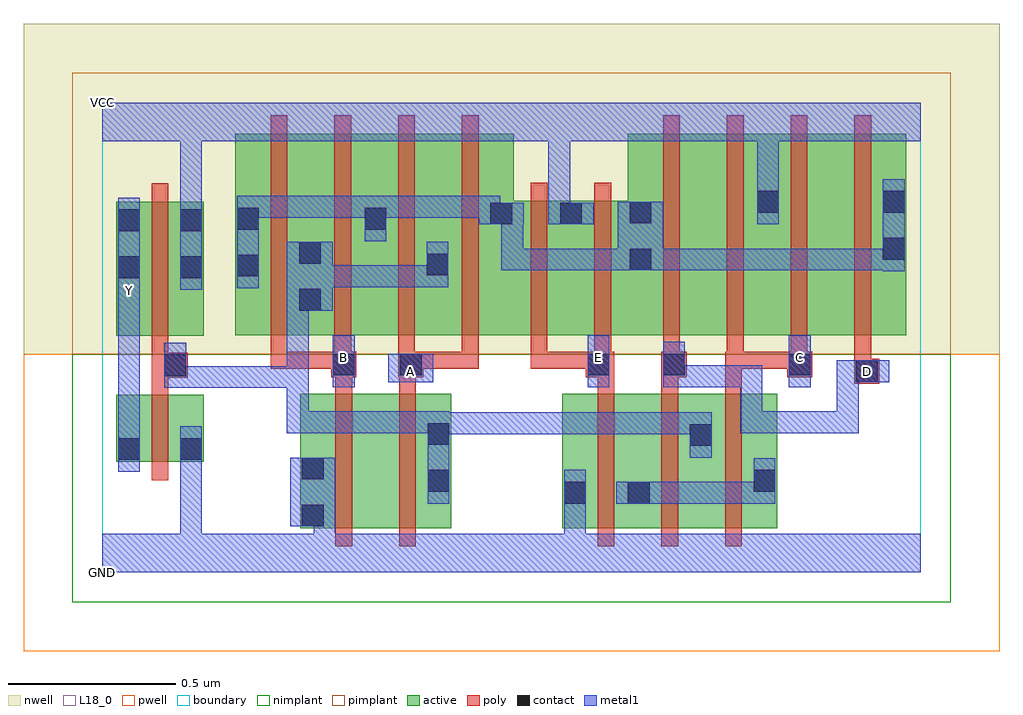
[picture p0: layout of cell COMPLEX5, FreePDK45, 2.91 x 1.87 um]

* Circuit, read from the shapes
.subckt COMPLEX5 A B C D E GND VCC Y
M1 GND n1 Y VSUBS nfet w=0.2u l=0.05u
M2 n2 B GND VSUBS nfet w=0.4u l=0.05u
M3 n1 A n2 VSUBS nfet w=0.4u l=0.05u
M4 n3 E GND VSUBS nfet w=0.4u l=0.05u
M5 n1 D n3 VSUBS nfet w=0.4u l=0.05u
M6 n3 C n1 VSUBS nfet w=0.4u l=0.05u
M7 VCC n1 Y n4 pfet w=0.4u l=0.05u
M8 n1 B n5 n4 pfet w=0.6u l=0.05u m=2
M9 n1 A n5 n4 pfet w=0.6u l=0.05u m=2
M10 VCC E n5 n4 pfet w=0.4u l=0.05u m=2
M11 n6 D n5 n4 pfet w=0.6u l=0.05u
M12 VCC C n6 n4 pfet w=0.6u l=0.05u
M13 n7 C VCC n4 pfet w=0.6u l=0.05u
M14 n5 D n7 n4 pfet w=0.6u l=0.05u
.ends

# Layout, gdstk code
import gdstk
lib = gdstk.Library(unit=1e-6, precision=1e-09)
def R(c, l, rs):  # rectangles x0, y0, x1, y1
    for r in rs: c.add(gdstk.rectangle(r[:2], r[2:], *l))
def A(c, l, x, y, w, h, nx, ny, dx, dy):  # array of equal rectangles
    R(c, l, [(x+i*dx, y+j*dy, x+i*dx+w, y+j*dy+h) for i in range(nx) for j in range(ny)])
active = (1, 0)
pwell = (2, 0)
nwell = (3, 0)
nimplant = (4, 0)
pimplant = (5, 0)
poly = (9, 0)
contact = (10, 0)
metal1 = (11, 0)
L18_0 = (18, 0)
boundary = (235, 0)

complex5 = lib.new_cell('COMPLEX5')
R(complex5, active, [(0.59,0.132,0.665,0.532), (0.59,0.132,0.815,0.532), (0.815,0.132,1.04,0.532), (1.372,0.132,1.637,0.532), (1.372,0.132,1.447,0.532), (1.562,0.132,1.822,0.532), (1.747,0.132,2.012,0.532), (0.965,0.195,1.04,0.532), (1.562,0.195,1.637,0.492), (1.747,0.195,1.822,0.492), (1.937,0.195,2.012,0.532), (0.042,0.33,0.117,0.53), (0.042,0.33,0.302,0.53), (0.227,0.33,0.302,0.53), (0.042,0.705,0.302,1.105), (0.042,0.705,0.117,1.105), (0.227,0.705,0.302,1.105), (0.397,0.707,0.472,1.2), (0.397,0.707,0.657,1.307), (0.582,0.707,0.657,1.07), (0.582,0.707,0.852,1.307), (0.777,0.707,0.852,1.2), (0.777,0.707,1.037,1.307), (0.962,0.707,1.227,1.307), (0.962,0.707,1.037,1.07), (1.152,0.707,1.435,1.107), (1.36,0.707,1.642,1.107), (1.567,0.707,1.792,1.307), (1.792,0.707,2.022,1.307), (1.947,0.707,2.172,1.307), (1.947,0.707,2.022,1.305), (2.172,0.707,2.397,1.307), (2.322,0.707,2.397,1.2), (1.36,0.802,1.435,1.107), (1.567,0.895,1.642,1.2), (1.152,0.907,1.227,1.2)])
R(complex5, pwell, [(-0.235,-0.235,2.675,0.65)])
R(complex5, nwell, [(-0.235,0.65,2.675,1.635)])
R(complex5, nimplant, [(-0.09,-0.09,2.53,0.65)])
R(complex5, pimplant, [(-0.09,0.65,2.53,1.49)])
A(complex5, poly, 1.477, 0.077, 0.05, 0.51, 3, 1, 0.19, 0)
A(complex5, poly, 0.502, 0.607, 0.05, 0.095, 4, 1, 0.19, 0)
A(complex5, poly, 1.672, 0.607, 0.05, 0.095, 3, 1, 0.19, 0)
A(complex5, poly, 0.502, 0.652, 0.05, 0.71, 4, 1, 0.19, 0)
A(complex5, poly, 1.672, 0.652, 0.05, 0.71, 4, 1, 0.19, 0)
R(complex5, poly, [(0.695,0.077,0.745,0.587), (0.885,0.077,0.935,0.587), (0.147,0.275,0.197,0.585), (0.147,0.535,0.197,0.63), (0.695,0.537,0.745,0.632), (0.885,0.537,0.935,0.632), (1.477,0.537,1.527,0.632), (1.667,0.537,1.717,0.632), (1.857,0.537,1.907,0.657), (2.242,0.562,2.317,0.637), (0.147,0.58,0.255,0.655), (0.682,0.582,0.757,0.657), (0.882,0.582,0.957,0.657), (1.442,0.582,1.527,0.657), (1.667,0.582,1.742,0.657), (2.042,0.582,2.117,0.657), (2.242,0.587,2.292,0.702), (0.147,0.605,0.197,0.7), (0.502,0.607,0.552,0.657), (0.502,0.607,0.552,0.657), (0.502,0.607,0.552,0.657), (0.502,0.607,0.732,0.657), (0.907,0.607,1.122,0.657), (1.072,0.607,1.122,0.657), (1.072,0.607,1.122,0.657), (1.072,0.607,1.122,0.657), (1.277,0.607,1.327,0.702), (1.277,0.607,1.327,0.657), (1.277,0.607,1.327,0.657), (1.277,0.607,1.327,0.657), (1.277,0.607,1.492,0.657), (1.467,0.607,1.517,0.702), (1.857,0.607,1.912,0.657), (1.862,0.607,2.092,0.657), (2.042,0.607,2.092,0.657), (2.042,0.607,2.092,0.657), (0.147,0.65,0.197,1.16), (1.277,0.652,1.327,1.162), (1.467,0.652,1.517,1.162)])
R(complex5, contact, [(0.595,0.137,0.66,0.202), (1.377,0.205,1.442,0.27), (1.567,0.205,1.632,0.27), (0.97,0.24,1.035,0.305), (1.942,0.24,2.007,0.305), (0.595,0.277,0.66,0.342), (0.047,0.335,0.112,0.4), (0.232,0.335,0.297,0.4), (1.752,0.377,1.817,0.442), (0.97,0.38,1.035,0.445), (2.247,0.567,2.312,0.632), (0.185,0.585,0.25,0.65), (0.687,0.587,0.752,0.652), (0.887,0.587,0.952,0.652), (1.447,0.587,1.512,0.652), (1.672,0.587,1.737,0.652), (2.047,0.587,2.112,0.652), (0.587,0.78,0.652,0.845), (0.047,0.877,0.112,0.942), (0.232,0.877,0.297,0.942), (0.402,0.882,0.467,0.947), (0.967,0.885,1.032,0.95), (1.572,0.9,1.637,0.965), (0.587,0.92,0.652,0.985), (2.327,0.932,2.392,0.997), (0.047,1.017,0.112,1.082), (0.232,1.017,0.297,1.082), (0.402,1.022,0.467,1.087), (0.782,1.022,0.847,1.087), (1.157,1.037,1.222,1.102), (1.365,1.037,1.43,1.102), (1.572,1.04,1.637,1.105), (1.952,1.072,2.017,1.137), (2.327,1.072,2.392,1.137)])
R(complex5, metal1, [(0,0,2.44,0.115), (0.232,0.05,0.297,0.115), (0.232,0.05,0.297,0.115), (0.232,0.05,0.297,0.115), (0.232,0.05,0.297,0.115), (0.232,0.05,0.297,0.365), (0.63,0.05,0.695,0.202), (1.377,0.05,1.442,0.235), (0.56,0.137,0.695,0.342), (0.63,0.137,0.695,0.202), (0.63,0.137,0.695,0.202), (1.377,0.17,1.442,0.235), (1.377,0.17,1.442,0.235), (1.377,0.17,1.442,0.305), (0.97,0.205,1.035,0.48), (1.532,0.205,1.667,0.27), (1.602,0.205,1.667,0.27), (1.602,0.205,1.667,0.27), (1.602,0.205,1.81,0.27), (1.745,0.205,1.81,0.27), (1.745,0.205,1.967,0.27), (1.902,0.205,1.967,0.27), (1.902,0.205,2.007,0.27), (1.942,0.205,2.007,0.34), (0.047,0.3,0.112,0.435), (0.232,0.3,0.297,0.365), (0.232,0.3,0.297,0.365), (0.232,0.3,0.297,0.435), (1.752,0.342,1.817,0.477), (0.047,0.37,0.112,0.837), (0.97,0.412,1.172,0.477), (1.107,0.412,1.172,0.477), (1.107,0.412,1.172,0.477), (1.107,0.412,1.172,0.477), (1.107,0.412,1.325,0.477), (1.26,0.412,1.325,0.477), (1.26,0.412,1.392,0.477), (1.327,0.412,1.392,0.477), (1.327,0.412,1.53,0.477), (1.465,0.412,1.53,0.477), (1.465,0.412,1.53,0.477), (1.465,0.412,1.53,0.477), (1.465,0.412,1.817,0.477), (1.752,0.412,1.817,0.477), (1.752,0.412,1.817,0.477), (0.55,0.415,0.615,0.48), (0.55,0.415,0.615,0.48), (0.55,0.415,0.615,0.48), (0.55,0.415,0.895,0.48), (0.55,0.415,0.615,0.615), (0.83,0.415,0.895,0.48), (0.83,0.415,1.035,0.48), (0.97,0.415,1.035,0.48), (0.97,0.415,1.035,0.48), (1.902,0.415,1.967,0.48), (1.902,0.415,2.117,0.48), (1.902,0.415,1.967,0.617), (2.052,0.415,2.117,0.48), (2.052,0.415,2.255,0.48), (2.19,0.415,2.255,0.48), (2.19,0.415,2.255,0.632), (0.185,0.55,0.25,0.615), (0.185,0.55,0.25,0.615), (0.185,0.55,0.25,0.685), (0.185,0.55,0.477,0.615), (0.412,0.55,0.477,0.615), (0.412,0.55,0.477,0.615), (0.412,0.55,0.477,0.615), (0.412,0.55,0.615,0.615), (0.55,0.55,0.615,0.615), (0.55,0.55,0.615,0.845), (0.687,0.552,0.752,0.707), (1.447,0.552,1.512,0.707), (1.672,0.552,1.737,0.687), (1.672,0.552,1.83,0.617), (1.765,0.552,1.967,0.617), (1.765,0.552,1.83,0.617), (1.902,0.552,1.967,0.617), (1.902,0.552,1.967,0.617), (1.902,0.552,1.967,0.617), (2.047,0.552,2.112,0.707), (0.852,0.567,0.987,0.652), (2.19,0.567,2.255,0.632), (2.19,0.567,2.277,0.632), (2.212,0.567,2.347,0.632), (0.047,0.772,0.112,0.907), (0.55,0.78,0.687,0.985), (0.047,0.842,0.112,1.117), (0.047,0.842,0.112,0.907), (0.232,0.842,0.297,1.117), (0.402,0.847,0.467,1.122), (0.622,0.85,0.687,0.915), (0.622,0.85,0.687,0.915), (0.622,0.85,0.895,0.915), (0.83,0.85,1.032,0.915), (0.83,0.85,0.895,0.915), (0.83,0.85,0.895,0.915), (0.83,0.85,0.895,0.915), (0.967,0.85,1.032,0.985), (2.327,0.897,2.392,1.172), (1.19,0.9,1.255,0.965), (1.19,0.9,1.255,1.102), (1.19,0.9,1.375,0.965), (1.31,0.9,1.375,0.965), (1.31,0.9,1.392,0.965), (1.327,0.9,1.392,0.965), (1.327,0.9,1.53,0.965), (1.465,0.9,1.53,0.965), (1.465,0.9,1.602,0.965), (1.537,0.9,1.672,1.105), (1.607,0.9,1.81,0.965), (1.745,0.9,1.81,0.965), (1.745,0.9,1.81,0.965), (1.745,0.9,1.81,0.965), (1.745,0.9,1.967,0.965), (1.902,0.9,1.967,0.965), (1.902,0.9,2.105,0.965), (2.04,0.9,2.105,0.965), (2.04,0.9,2.105,0.965), (2.04,0.9,2.105,0.965), (2.04,0.9,2.255,0.965), (2.19,0.9,2.392,0.965), (2.19,0.9,2.255,0.965), (2.19,0.9,2.255,0.965), (2.19,0.9,2.255,0.965), (0.782,0.987,0.847,1.122), (1.122,1.037,1.187,1.102), (1.122,1.037,1.257,1.102), (1.122,1.037,1.187,1.122), (1.33,1.037,1.465,1.102), (1.33,1.037,1.395,1.35), (1.952,1.037,2.017,1.172), (0.232,1.052,0.297,1.35), (0.402,1.057,0.467,1.122), (0.402,1.057,0.467,1.122), (0.402,1.057,0.657,1.122), (0.592,1.057,0.657,1.122), (0.592,1.057,0.657,1.122), (0.592,1.057,0.657,1.122), (0.592,1.057,0.847,1.122), (0.782,1.057,0.847,1.122), (0.782,1.057,0.847,1.122), (0.782,1.057,1.032,1.122), (0.967,1.057,1.032,1.122), (0.967,1.057,1.187,1.122), (1.952,1.107,2.017,1.35), (0,1.285,2.44,1.4), (0.232,1.285,0.297,1.35), (0.232,1.285,0.297,1.35), (1.33,1.285,1.395,1.35), (1.33,1.285,1.395,1.35)])
R(complex5, L18_0, [(0,0,2.44,0.115), (0.232,0.05,0.297,0.115), (0.232,0.05,0.297,0.115), (0.232,0.05,0.297,0.115), (0.232,0.05,0.297,0.115), (0.232,0.05,0.297,0.365), (0.63,0.05,0.695,0.202), (1.377,0.05,1.442,0.235), (0.56,0.137,0.695,0.342), (0.63,0.137,0.695,0.202), (0.63,0.137,0.695,0.202), (1.377,0.17,1.442,0.305), (1.377,0.17,1.442,0.235), (1.377,0.17,1.442,0.235), (0.047,0.3,0.112,0.435), (0.232,0.3,0.297,0.435), (0.232,0.3,0.297,0.365), (0.232,0.3,0.297,0.365), (0.047,0.37,0.112,0.837), (1.902,0.415,1.967,0.48), (1.902,0.415,1.967,0.617), (1.902,0.415,2.117,0.48), (2.052,0.415,2.117,0.48), (2.052,0.415,2.255,0.48), (2.19,0.415,2.255,0.48), (2.19,0.415,2.255,0.632), (0.687,0.552,0.752,0.707), (1.447,0.552,1.512,0.707), (1.672,0.552,1.737,0.687), (1.672,0.552,1.83,0.617), (1.765,0.552,1.83,0.617), (1.765,0.552,1.967,0.617), (1.902,0.552,1.967,0.617), (1.902,0.552,1.967,0.617), (1.902,0.552,1.967,0.617), (2.047,0.552,2.112,0.707), (0.852,0.567,0.987,0.652), (0.887,0.567,0.952,0.632), (2.19,0.567,2.255,0.632), (2.19,0.567,2.277,0.632), (2.212,0.567,2.347,0.632), (2.247,0.567,2.312,0.632), (0.687,0.607,0.752,0.672), (1.447,0.607,1.512,0.672), (2.047,0.607,2.112,0.672), (0.047,0.772,0.112,0.907), (0.047,0.807,0.112,0.872), (0.047,0.842,0.112,1.117), (0.047,0.842,0.112,0.907), (0.232,0.842,0.297,1.117), (1.33,1.037,1.465,1.102), (1.33,1.037,1.395,1.35), (1.952,1.037,2.017,1.172), (0.232,1.052,0.297,1.35), (1.952,1.107,2.017,1.35), (0,1.285,2.44,1.4), (0.232,1.285,0.297,1.35), (0.232,1.285,0.297,1.35), (1.33,1.285,1.395,1.35), (1.33,1.285,1.395,1.35)])
R(complex5, boundary, [(0,0,2.44,1.4)])
complex5.add(gdstk.Label('A', (0.92,0.6), layer=11, texttype=0))
complex5.add(gdstk.Label('B', (0.72,0.64), layer=11, texttype=0))
complex5.add(gdstk.Label('C', (2.08,0.64), layer=11, texttype=0))
complex5.add(gdstk.Label('D', (2.28,0.6), layer=11, texttype=0))
complex5.add(gdstk.Label('E', (1.48,0.64), layer=11, texttype=0))
complex5.add(gdstk.Label('Y', (0.08,0.84), layer=11, texttype=0))
complex5.add(gdstk.Label('VCC', (0,1.4), layer=11, texttype=0))
complex5.add(gdstk.Label('GND', (0,0), layer=11, texttype=0))

lib.write_gds('COMPLEX5.gds')
